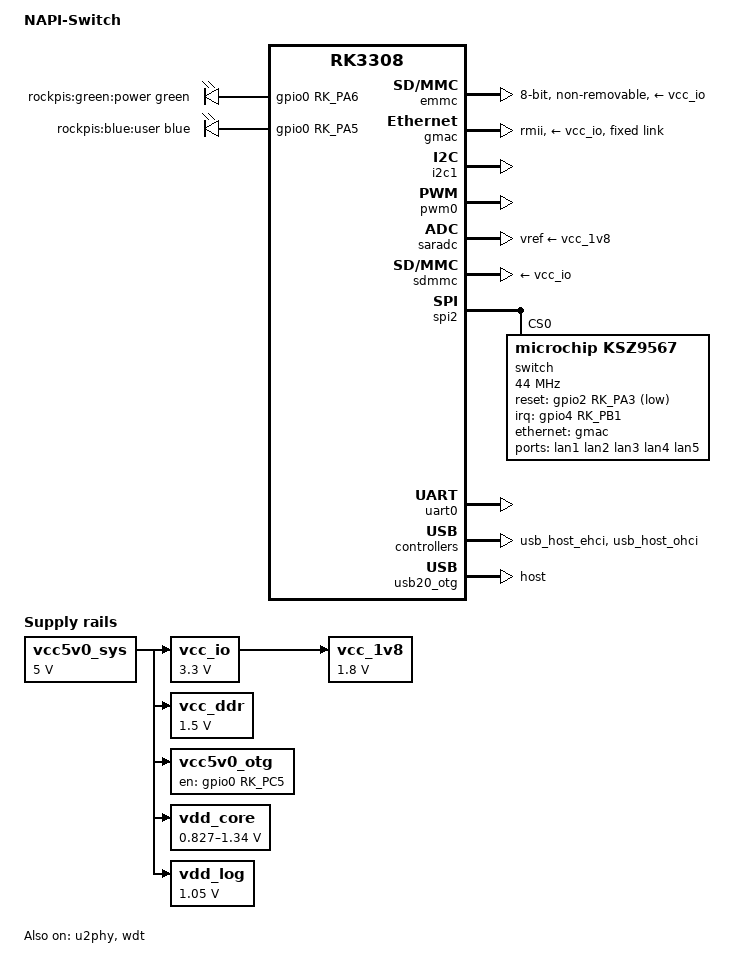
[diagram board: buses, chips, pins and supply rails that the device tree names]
// SPDX-License-Identifier: (GPL-2.0+ OR MIT)
/*
 * Copyright (c) 2019 Akash Gajjar <akash@openedev.com>
 * Copyright (c) 2019 Jagan Teki <jagan@openedev.com>
 */

/dts-v1/;

#include <dt-bindings/leds/common.h>
#include "rk3308.dtsi"

/ {
	model = "NAPI-Switch";
	compatible = "radxa,rockpis", "rockchip,rk3308";

	aliases {
		ethernet0 = &gmac;
		mmc0 = &emmc;
		mmc1 = &sdmmc;
		mmc2 = &sdio;
	};

	chosen {
		stdout-path = "serial0:1500000n8";
	};

	leds {
		compatible = "gpio-leds";
		pinctrl-names = "default";
		pinctrl-0 = <&green_led>, <&heartbeat_led>;

		green-led {
			color = <LED_COLOR_ID_GREEN>;
			default-state = "on";
			function = LED_FUNCTION_POWER;
			gpios = <&gpio0 RK_PA6 GPIO_ACTIVE_HIGH>;
			label = "rockpis:green:power";
			linux,default-trigger = "default-on";
		};

		blue-led {
			color = <LED_COLOR_ID_BLUE>;
			default-state = "on";
			function = LED_FUNCTION_HEARTBEAT;
			gpios = <&gpio0 RK_PA5 GPIO_ACTIVE_HIGH>;
			label = "rockpis:blue:user";
			linux,default-trigger = "heartbeat";
		};
	};

	vcc_1v8: vcc-1v8 {
		compatible = "regulator-fixed";
		regulator-name = "vcc_1v8";
		regulator-always-on;
		regulator-boot-on;
		regulator-min-microvolt = <1800000>;
		regulator-max-microvolt = <1800000>;
		vin-supply = <&vcc_io>;
	};

	vcc_io: vcc-io {
		compatible = "regulator-fixed";
		regulator-name = "vcc_io";
		regulator-always-on;
		regulator-boot-on;
		regulator-min-microvolt = <3300000>;
		regulator-max-microvolt = <3300000>;
		vin-supply = <&vcc5v0_sys>;
	};

	vcc_ddr: vcc-ddr {
		compatible = "regulator-fixed";
		regulator-name = "vcc_ddr";
		regulator-always-on;
		regulator-boot-on;
		regulator-min-microvolt = <1500000>;
		regulator-max-microvolt = <1500000>;
		vin-supply = <&vcc5v0_sys>;
	};

	vcc5v0_otg: vcc5v0-otg {
		compatible = "regulator-fixed";
		enable-active-high;
		gpio = <&gpio0 RK_PC5 GPIO_ACTIVE_HIGH>;
		pinctrl-names = "default";
		pinctrl-0 = <&otg_vbus_drv>;
		regulator-name = "vcc5v0_otg";
		regulator-always-on;
		vin-supply = <&vcc5v0_sys>;
	};

	vcc5v0_sys: vcc5v0-sys {
		compatible = "regulator-fixed";
		regulator-name = "vcc5v0_sys";
		regulator-always-on;
		regulator-boot-on;
		regulator-min-microvolt = <5000000>;
		regulator-max-microvolt = <5000000>;
	};

	vdd_core: vdd-core {
		compatible = "pwm-regulator";
		pwms = <&pwm0 0 5000 1>;
		pwm-supply = <&vcc5v0_sys>;
		regulator-name = "vdd_core";
		regulator-min-microvolt = <827000>;
		regulator-max-microvolt = <1340000>;
		regulator-init-microvolt = <1015000>;
		regulator-settling-time-up-us = <250>;
		regulator-always-on;
		regulator-boot-on;
	};

	vdd_log: vdd-log {
		compatible = "regulator-fixed";
		regulator-name = "vdd_log";
		regulator-always-on;
		regulator-boot-on;
		regulator-min-microvolt = <1050000>;
		regulator-max-microvolt = <1050000>;
		vin-supply = <&vcc5v0_sys>;
	};
};

&cpu0 {
	cpu-supply = <&vdd_core>;
};

&emmc {
	bus-width = <8>;
	cap-mmc-highspeed;
	mmc-hs200-1_8v;
	no-sdio;
	no-sd;
	non-removable;
	pinctrl-names = "default";
	pinctrl-0 = <&emmc_bus8 &emmc_clk &emmc_cmd>;
	vmmc-supply = <&vcc_io>;
	vqmmc-supply = <&vcc_1v8>;
	status = "okay";
};

&gmac {
	/*
	 * Внешнего PHY нет: MAC подключён к порту 6 коммутатора KSZ9567S
	 * по RMII. Опорные 50 МГц выдаёт коммутатор (REFCLK6), поэтому
	 * clock_in_out = "input" и pinctrl без варианта _12ma.
	 */
	assigned-clocks = <&cru SCLK_MAC>;
	assigned-clock-parents = <&mac_clkin>;
	clock_in_out = "input";
	phy-mode = "rmii";
	phy-supply = <&vcc_io>;
	pinctrl-names = "default";
	pinctrl-0 = <&rmii_pins &mac_refclk>;
	status = "okay";

	fixed-link {
		speed = <100>;
		full-duplex;
	};
};

&i2c1 {
	status = "okay";
};

&pinctrl {
	pinctrl-names = "default";
	pinctrl-0 = <&rtc_32k>;

	ksz9567 {
		/* INTRP_N, вывод 94 — внешняя подтяжка R44 10k на DVDIO */
		ksz_int: ksz-int {
			rockchip,pins = <4 RK_PB1 RK_FUNC_GPIO &pcfg_pull_none>;
		};

		/*
		 * RST_PHY_N -> R12 10k -> вход MR супервизора U4 (RS806),
		 * его выход RST -> SW_RESET_N -> RESET_N коммутатора (вывод 96).
		 * У MR своя подтяжка на плате, поэтому pull_none.
		 */
		ksz_rst: ksz-rst {
			rockchip,pins = <2 RK_PA3 RK_FUNC_GPIO &pcfg_pull_none>;
		};
	};

	leds {
		green_led: green-led {
			rockchip,pins = <0 RK_PA6 RK_FUNC_GPIO &pcfg_pull_none>;
		};

		heartbeat_led: heartbeat-led {
			rockchip,pins = <0 RK_PA5 RK_FUNC_GPIO &pcfg_pull_none>;
		};
	};

	usb {
		otg_vbus_drv: otg-vbus-drv {
			rockchip,pins = <0 RK_PC5 RK_FUNC_GPIO &pcfg_pull_none>;
		};
	};
};

&pwm0 {
	status = "okay";
	pinctrl-0 = <&pwm0_pin_pull_down>;
};

&saradc {
	vref-supply = <&vcc_1v8>;
	status = "okay";
};

&sdmmc {
	cap-mmc-highspeed;
	cap-sd-highspeed;
	disable-wp;
	vmmc-supply = <&vcc_io>;
	status = "okay";
};

&spi2 {
	status = "okay";

	switch@0 {
		compatible = "microchip,ksz9567";
		reg = <0>;
		spi-max-frequency = <44000000>;

		interrupt-parent = <&gpio4>;
		interrupts = <RK_PB1 IRQ_TYPE_LEVEL_LOW>;
		pinctrl-names = "default";
		pinctrl-0 = <&ksz_int &ksz_rst>;

		/* RST_PHY_N = GPIO2_A3 (шарик I2C2_SCL), активен низким */
		reset-gpios = <&gpio2 RK_PA3 GPIO_ACTIVE_LOW>;

		ethernet-ports {
			#address-cells = <1>;
			#size-cells = <0>;

			port@0 {
				reg = <0>;
				label = "lan1";
			};

			port@1 {
				reg = <1>;
				label = "lan2";
			};

			port@2 {
				reg = <2>;
				label = "lan3";
			};

			port@3 {
				reg = <3>;
				label = "lan4";
			};

			port@4 {
				reg = <4>;
				label = "lan5";
			};

			/* Порт 6 коммутатора: RMII в GMAC процессора */
			port@5 {
				reg = <5>;
				ethernet = <&gmac>;
				phy-mode = "rmii";

				fixed-link {
					speed = <100>;
					full-duplex;
				};
			};
		};
	};
};

&u2phy {
	status = "okay";

	u2phy_host: host-port {
		phy-supply = <&vcc5v0_otg>;
		status = "okay";
	};

	u2phy_otg: otg-port {
		phy-supply = <&vcc5v0_otg>;
		status = "okay";
	};
};

&uart0 {
	pinctrl-names = "default";
	pinctrl-0 = <&uart0_xfer>;
	status = "okay";
};

/*
 * uart4 выключен намеренно: его выводы GPIO4_B1/GPIO4_B0 заняты
 * сигналами коммутатора INTRP_N и GPIO_FILT.
 */
&uart4 {
	status = "disabled";
};

&usb_host_ehci {
	status = "okay";
};

&usb_host_ohci {
	status = "okay";
};

/* LAN7850 припаян на OTG-порт, поэтому только host */
&usb20_otg {
	dr_mode = "host";
	status = "okay";
};

&wdt {
	status = "okay";
};
